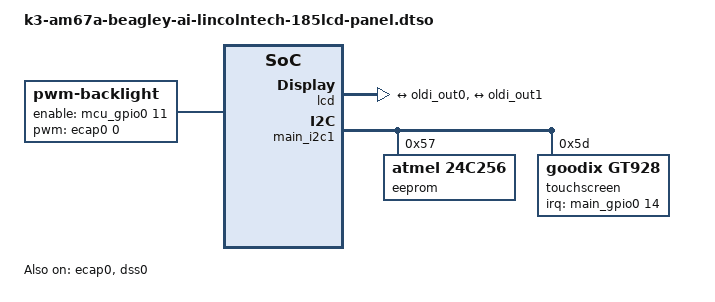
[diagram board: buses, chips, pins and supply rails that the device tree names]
// SPDX-License-Identifier: GPL-2.0
/**
 * DT Overlay for LincolnTech LCD185-101CTL1ARNTT
 *
 * Datasheet: https://lincolntechsolutions.com/wp-content/uploads/2023/04/LCD185-101CTL1ARNTT_DS_R1.3.pdf
 *
 * Copyright (C) 2023 Texas Instruments Incorporated - https://www.ti.com/
 */

/dts-v1/;
/plugin/;

#include <dt-bindings/gpio/gpio.h>
#include <dt-bindings/interrupt-controller/irq.h>

/*
 * Helper to show loaded overlays under: /proc/device-tree/chosen/overlays/
 */
&{/chosen} {
	overlays {
		k3-am67a-beagley-ai-lincolntech-185lcd-panel.kernel = __TIMESTAMP__;
	};
};

&{/} {
	backlight: backlight {
		compatible = "pwm-backlight";
		pinctrl-names = "default";
		pinctrl-0 = <&main_oldi_backlight_default_pins>, <&mcu_oldi_backlight_default_pins>;
		brightness-levels = <0 4 8 16 32 64 128 255>;
		default-brightness-level = <6>;
		enable-gpios = <&mcu_gpio0 11 GPIO_ACTIVE_HIGH>;
		pwms = <&ecap0 0 20000 0>;
	};

	lcd {
		compatible = "lincolntech,lcd185-101ct";
		backlight = <&backlight>;
		/*
		* Note that the OLDI TX 0 transmits the odd set of pixels
		* while the OLDI TX 1 transmits the even set. This is a
		* fixed configuration in the IP integration and is not
		* changeable. The properties, "dual-lvds-odd-pixels" and
		* "dual-lvds-even-pixels" have been used to merely
		* identify if a Dual Link configuration is required.
		* But swapping them will cause an error in the dss driver.
		*/
		port@0 {
			dual-lvds-odd-pixels;
			lcd_in0: endpoint {
				remote-endpoint = <&oldi_out0>;
			};
		};
		port@1 {
			dual-lvds-even-pixels;
			lcd_in1: endpoint {
				remote-endpoint = <&oldi_out1>;
			};
		};
	};
};

&ecap0 {
	status = "okay";
};

&main_gpio1 {
	status = "okay";
};

&mcu_gpio0 {
	status = "okay";
};

&main_i2c1 {
	eeprom@57 {
		compatible = "atmel,24c256";
	    reg = <0x57>;
	};

	touchscreen@5d {
		compatible = "goodix,gt928";
		reg = <0x5d>;
		pinctrl-names = "default";
		pinctrl-0 = <&main_oldi_touchscreen_default_pins>;
		interrupt-parent = <&main_gpio0>;
		interrupts = <14 IRQ_TYPE_EDGE_FALLING>;
		irq-gpios = <&main_gpio0 14 GPIO_ACTIVE_HIGH>;
		touchscreen-size-x = <1920>;
		touchscreen-size-y = <1200>;
	};
};

&dss0 {
	status = "okay";
};

&dss0_ports {
	#address-cells = <1>;
	#size-cells = <0>;

	/* VP1: LVDS Output (OLDI TX 0) */
	port@0 {
		reg = <0>;
		oldi_out0: endpoint {
			remote-endpoint = <&lcd_in0>;
		};
	};

	/* VP1: LVDS Output (OLDI TX 1) */
	port@2 {
		reg = <2>;
		oldi_out1: endpoint {
			remote-endpoint = <&lcd_in1>;
		};
	};
};
